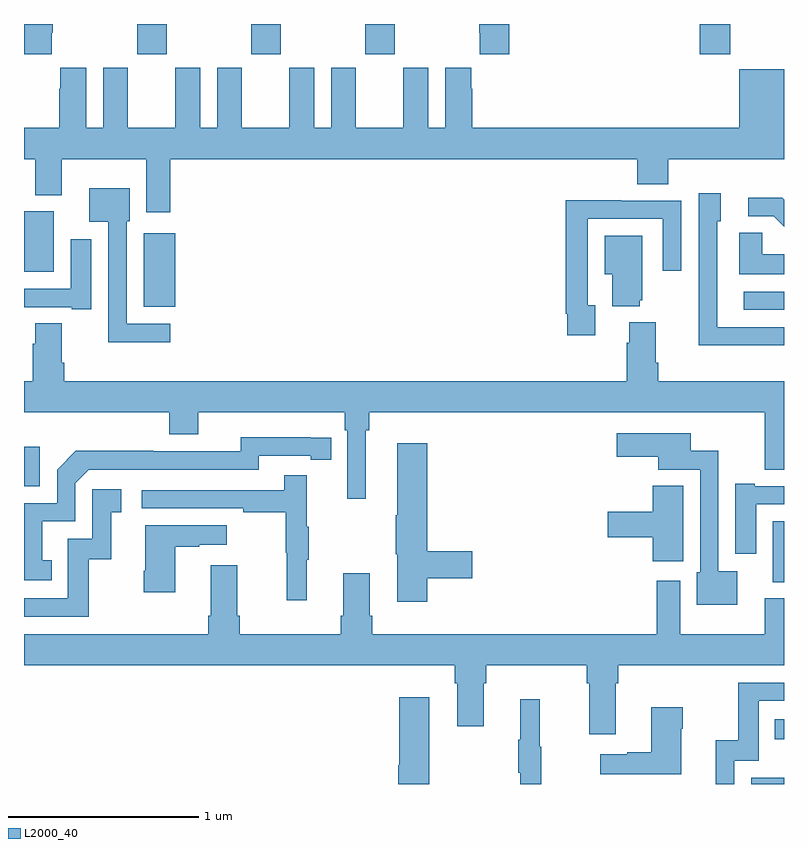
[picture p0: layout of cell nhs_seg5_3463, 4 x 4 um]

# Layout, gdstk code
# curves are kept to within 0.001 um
import gdstk
lib = gdstk.Library(unit=1e-6, precision=1e-09)
def R(c, l, rs):  # rectangles x0, y0, x1, y1
    for r in rs: c.add(gdstk.rectangle(r[:2], r[2:], *l))
def A(c, l, x, y, w, h, nx, ny, dx, dy):  # array of equal rectangles
    R(c, l, [(x+i*dx, y+j*dy, x+i*dx+w, y+j*dy+h) for i in range(nx) for j in range(ny)])
def P(c, l, *ps):  # polygons
    for p in ps: c.add(gdstk.Polygon(p, *l))
L2000_40 = (2000, 40)

nhs_seg5_3463 = lib.new_cell('nhs_seg5_3463')
A(nhs_seg5_3463, L2000_40, 315.595, 862.641, 0.155, 0.158, 3, 1, 0.6, 0)
R(nhs_seg5_3463, L2000_40, [(318.828,858.799,319,858.831), (318.952,859.035,319,859.141), (318.941,859.862,319,860.182), (315,860.367,315.084,860.575), (318.789,861.294,319,861.39), (315.629,861.311,315.796,861.697), (315,861.494,315.157,861.814), (318.557,862.641,318.717,862.799)])
P(nhs_seg5_3463, L2000_40, [(315.145,862.753),(315.15,862.753),(315.15,862.799),(315,862.799),(315,862.641),(315.145,862.641)],
  [(317.555,862.799),(317.395,862.799),(317.395,862.753),(317.399,862.753),(317.399,862.641),(317.555,862.641)],
  [(318.227,861.955),(318.392,861.955),(318.392,862.088),(319,862.088),(319,862.561),(318.764,862.561),(318.764,862.252),(317.36,862.252),(317.36,862.457),(317.353,862.457),(317.353,862.57),(317.216,862.57),(317.216,862.252),(317.128,862.252),(317.128,862.57),(316.997,862.57),(316.997,862.252),(316.747,862.252),(316.747,862.57),(316.616,862.57),(316.616,862.252),(316.528,862.252),(316.528,862.57),(316.397,862.57),(316.397,862.252),(316.147,862.252),(316.147,862.57),(316.016,862.57),(316.016,862.252),(315.928,862.252),(315.928,862.57),(315.797,862.57),(315.797,862.252),(315.547,862.252),(315.547,862.57),(315.416,862.57),(315.416,862.252),(315.328,862.252),(315.328,862.57),(315.191,862.57),(315.191,862.457),(315.185,862.457),(315.185,862.252),(315,862.252),(315,862.088),(315.059,862.088),(315.059,861.899),(315.199,861.899),(315.199,862.088),(315.644,862.088),(315.644,861.807),(315.77,861.807),(315.77,862.088),(318.227,862.088)],
  [(315.769,861.222),(315.54,861.222),(315.54,861.762),(315.556,861.762),(315.556,861.934),(315.344,861.934),(315.344,861.758),(315.444,861.758),(315.444,861.125),(315.769,861.125)],
  [(319,861.204),(318.648,861.204),(318.648,861.762),(318.667,861.762),(318.667,861.907),(318.552,861.907),(318.552,861.413),(318.55,861.413),(318.55,861.107),(319,861.107)],
  [(319,861.875),(318.991,861.884),(318.813,861.884),(318.813,861.786),(318.947,861.786),(319,861.733)],
  [(318.007,861.318),(317.967,861.318),(317.967,861.774),(318.363,861.774),(318.363,861.501),(318.459,861.501),(318.459,861.87),(318.143,861.87),(318.143,861.872),(317.851,861.872),(317.851,861.274),(317.859,861.274),(317.859,861.162),(318.007,861.162)],
  [(319,861.586),(318.885,861.586),(318.885,861.701),(318.764,861.701),(318.764,861.482),(319,861.482)],
  [(318.242,861.345),(318.253,861.345),(318.253,861.685),(318.056,861.685),(318.056,861.482),(318.095,861.482),(318.095,861.314),(318.242,861.314)],
  [(315.355,861.667),(315.245,861.667),(315.245,861.405),(315,861.405),(315,861.309),(315.251,861.309),(315.251,861.297),(315.355,861.297)],
  [(316.798,860.66),(316.817,860.66),(316.817,860.756),(318.899,860.756),(318.899,860.452),(319,860.452),(319,860.92),(318.338,860.92),(318.338,861.016),(318.325,861.016),(318.325,861.229),(318.185,861.229),(318.185,861.122),(318.173,861.122),(318.173,860.92),(315.212,860.92),(315.212,861.016),(315.199,861.016),(315.199,861.224),(315.059,861.224),(315.059,861.116),(315.047,861.116),(315.047,860.92),(315,860.92),(315,860.756),(315.764,860.756),(315.764,860.639),(315.916,860.639),(315.916,860.756),(316.688,860.756),(316.688,860.66),(316.701,860.66),(316.701,860.301),(316.798,860.301)],
  [(318.754,859.918),(318.654,859.918),(318.654,860.552),(318.508,860.552),(318.508,860.644),(318.12,860.644),(318.12,860.522),(318.338,860.522),(318.338,860.454),(318.558,860.454),(318.558,859.914),(318.542,859.914),(318.542,859.742),(318.754,859.742)],
  [(315.146,859.977),(315.097,859.977),(315.097,860.181),(315.27,860.181),(315.27,860.382),(315.342,860.454),(316.236,860.454),(316.236,860.526),(316.508,860.526),(316.508,860.506),(316.616,860.506),(316.616,860.622),(316.14,860.623),(316.14,860.55),(315.68,860.55),(315.68,860.552),(315.272,860.552),(315.174,860.454),(315.174,860.277),(315,860.277),(315,859.872),(315.146,859.872)],
  [(317.123,859.882),(317.359,859.882),(317.359,860.024),(317.123,860.024),(317.123,860.593),(316.964,860.593),(316.964,860.213),(316.957,860.213),(316.957,860.007),(316.964,860.007),(316.964,859.758),(317.123,859.758)],
  [(316.487,859.979),(316.498,859.979),(316.498,860.153),(316.487,860.153),(316.487,860.425),(316.369,860.425),(316.369,860.346),(315.621,860.346),(315.621,860.25),(316.153,860.25),(316.153,860.23),(316.377,860.23),(316.377,860.016),(316.384,860.016),(316.384,859.767),(316.487,859.767)],
  [(318.853,860.271),(319,860.271),(319,860.367),(318.847,860.367),(318.847,860.38),(318.743,860.38),(318.743,860.01),(318.853,860.01)],
  [(318.469,860.369),(318.308,860.369),(318.308,860.233),(318.072,860.233),(318.072,860.099),(318.308,860.099),(318.308,859.971),(318.469,859.971)],
  [(315.34,859.983),(315.458,859.983),(315.458,860.229),(315.511,860.229),(315.511,860.35),(315.36,860.35),(315.36,860.091),(315.231,860.091),(315.231,859.776),(315,859.776),(315,859.68),(315.34,859.68)],
  [(315.796,860.047),(315.923,860.047),(315.923,860.057),(316.066,860.057),(316.066,860.161),(315.638,860.161),(315.638,859.921),(315.631,859.921),(315.631,859.809),(315.796,859.809)],
  [(315.983,859.951),(315.983,859.684),(315.971,859.684),(315.971,859.588),(315,859.588),(315,859.424),(317.267,859.424),(317.267,859.328),(317.279,859.328),(317.279,859.104),(317.419,859.104),(317.419,859.328),(317.432,859.328),(317.432,859.424),(317.963,859.424),(317.963,859.328),(317.975,859.328),(317.975,859.062),(318.115,859.062),(318.115,859.328),(318.128,859.328),(318.128,859.424),(319,859.424),(319,859.777),(318.899,859.777),(318.899,859.588),(318.454,859.588),(318.454,859.87),(318.329,859.87),(318.329,859.588),(316.832,859.588),(316.832,859.684),(316.819,859.684),(316.819,859.909),(316.679,859.909),(316.679,859.684),(316.667,859.684),(316.667,859.588),(316.136,859.588),(316.136,859.684),(316.123,859.684),(316.123,859.951)],
  [(318.738,858.921),(318.867,858.921),(318.867,859.236),(319,859.236),(319,859.332),(318.759,859.332),(318.759,859.03),(318.641,859.03),(318.641,858.799),(318.738,858.799)],
  [(317.134,859.255),(316.976,859.255),(316.976,858.897),(316.97,858.897),(316.97,858.799),(317.134,858.799)],
  [(317.722,858.996),(317.714,858.996),(317.714,859.246),(317.612,859.246),(317.612,859.033),(317.601,859.033),(317.601,858.859),(317.612,858.859),(317.612,858.799),(317.722,858.799)],
  [(318.46,859.091),(318.468,859.091),(318.468,859.204),(318.302,859.204),(318.302,858.965),(318.176,858.965),(318.176,858.955),(318.033,858.955),(318.033,858.851),(318.46,858.851)])

lib.write_gds('nhs_seg5_3463.gds')
